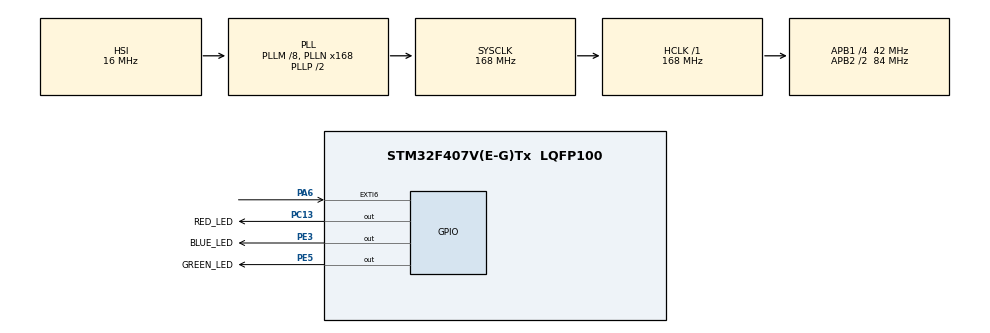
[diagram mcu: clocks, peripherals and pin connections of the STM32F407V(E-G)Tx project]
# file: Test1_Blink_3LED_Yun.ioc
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Mcu.Family=STM32F4
PC15-OSC32_OUT.Mode=LSE-External-Oscillator
PH0-OSC_IN.Signal=RCC_OSC_IN
PA6.GPIO_ModeDefaultEXTI=GPIO_MODE_IT_FALLING
RCC.CortexFreq_Value=168000000
PC13-ANTI_TAMP.GPIO_Label=RED_LED
RCC.APB1CLKDivider=RCC_HCLK_DIV4
PC14-OSC32_IN.Signal=RCC_OSC32_IN
PC13-ANTI_TAMP.PinState=GPIO_PIN_SET
RCC.SYSCLKSource=RCC_SYSCLKSOURCE_PLLCLK
ProjectManager.StackSize=0x400
PA13.Signal=SYS_JTMS-SWDIO
ProjectManager.TargetToolchain=STM32CubeIDE
RCC.HCLKFreq_Value=168000000
RCC.APB2TimFreq_Value=168000000
PE5.Signal=GPIO_Output
PC15-OSC32_OUT.Signal=RCC_OSC32_OUT
RCC.AHBFreq_Value=168000000
PH0-OSC_IN.Mode=HSE-External-Oscillator
PE3.PinState=GPIO_PIN_SET
RCC.HSE_VALUE=8000000
board=custom
PC13-ANTI_TAMP.Signal=GPIO_Output
RCC.VCOOutputFreq_Value=336000000
RCC.APB2Freq_Value=84000000
PA6.GPIO_PuPd=GPIO_PULLUP
PC14-OSC32_IN.Mode=LSE-External-Oscillator
PA14.Mode=Serial_Wire
PE5.PinState=GPIO_PIN_SET
PH1-OSC_OUT.Signal=RCC_OSC_OUT
PA13.Mode=Serial_Wire
Mcu.Name=STM32F407V(E-G)Tx
PH1-OSC_OUT.Mode=HSE-External-Oscillator
RCC.48MHZClocksFreq_Value=84000000
RCC.SYSCLKFreq_VALUE=168000000
Mcu.Package=LQFP100
PA6.Signal=GPXTI6
PE5.GPIO_Label=GREEN_LED
NVIC.EXTI9_5_IRQn=true\:0\:0\:false\:false\:true\:true\:true
PA14.Signal=SYS_JTCK-SWCLK
ProjectManager.HeapSize=0x200
RCC.HSI_VALUE=16000000
NVIC.PriorityGroup=NVIC_PRIORITYGROUP_4
RCC.APB2CLKDivider=RCC_HCLK_DIV2
RCC.PLLM=8
RCC.PLLN=168
RCC.APB1TimFreq_Value=84000000
PE3.Signal=GPIO_Output
PE3.GPIO_Label=BLUE_LED
RCC.APB1Freq_Value=42000000

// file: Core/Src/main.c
/* USER CODE BEGIN Header */
/**
  ******************************************************************************
  * @file           : main.c
  * @brief          : Main program body
  ******************************************************************************
  * @attention
  *
  * <h2><center>&copy; Copyright (c) 2021 STMicroelectronics.
  * All rights reserved.</center></h2>
  *
  * This software component is licensed by ST under BSD 3-Clause license,
  * the "License"; You may not use this file except in compliance with the
  * License. You may obtain a copy of the License at:
  *                        opensource.org/licenses/BSD-3-Clause
  *
  ******************************************************************************
  */
/* USER CODE END Header */
#include "main.h"
#include "gpio.h"

void SystemClock_Config(void);

/* USER CODE BEGIN 0 */
void SetColor(int index, uint32_t time)
{
	switch(index)
	{
	case 0:
		RED_ON();
		HAL_Delay(time);
		RED_OFF();
		break;
	case 1:
		GREEN_ON();
		HAL_Delay(time);
		GREEN_OFF();
		break;
	case 2:
		BLUE_ON();
		HAL_Delay(time);
		BLUE_OFF();
		break;
	}
}
/* USER CODE END 0 */

int main(void)
{

  /* MCU Configuration--------------------------------------------------------*/

  /* Reset of all peripherals, Initializes the Flash interface and the Systick. */
  HAL_Init();

  /* Configure the system clock */
  SystemClock_Config();

  /* Initialize all configured peripherals */
  MX_GPIO_Init();

  /* Infinite loop */
  while (1)
  {

    /* USER CODE BEGIN 3 */
	  for(int i = 0; i <= 2; i++)
	  {
		  SetColor(i, 50);
	  }
  }
  /* USER CODE END 3 */
}

void SystemClock_Config(void)
{
  RCC_OscInitTypeDef RCC_OscInitStruct = {0};
  RCC_ClkInitTypeDef RCC_ClkInitStruct = {0};

  /** Configure the main internal regulator output voltage
  */
  __HAL_RCC_PWR_CLK_ENABLE();
  __HAL_PWR_VOLTAGESCALING_CONFIG(PWR_REGULATOR_VOLTAGE_SCALE1);
  /** Initializes the RCC Oscillators according to the specified parameters
  * in the RCC_OscInitTypeDef structure.
  */
  RCC_OscInitStruct.OscillatorType = RCC_OSCILLATORTYPE_HSI;
  RCC_OscInitStruct.HSIState = RCC_HSI_ON;
  RCC_OscInitStruct.HSICalibrationValue = RCC_HSICALIBRATION_DEFAULT;
  RCC_OscInitStruct.PLL.PLLState = RCC_PLL_ON;
  RCC_OscInitStruct.PLL.PLLSource = RCC_PLLSOURCE_HSI;
  RCC_OscInitStruct.PLL.PLLM = 8;
  RCC_OscInitStruct.PLL.PLLN = 168;
  RCC_OscInitStruct.PLL.PLLP = RCC_PLLP_DIV2;
  RCC_OscInitStruct.PLL.PLLQ = 4;
  if (HAL_RCC_OscConfig(&RCC_OscInitStruct) != HAL_OK)
  {
    Error_Handler();
  }
  /** Initializes the CPU, AHB and APB buses clocks
  */
  RCC_ClkInitStruct.ClockType = RCC_CLOCKTYPE_HCLK|RCC_CLOCKTYPE_SYSCLK
                              |RCC_CLOCKTYPE_PCLK1|RCC_CLOCKTYPE_PCLK2;
  RCC_ClkInitStruct.SYSCLKSource = RCC_SYSCLKSOURCE_PLLCLK;
  RCC_ClkInitStruct.AHBCLKDivider = RCC_SYSCLK_DIV1;
  RCC_ClkInitStruct.APB1CLKDivider = RCC_HCLK_DIV4;
  RCC_ClkInitStruct.APB2CLKDivider = RCC_HCLK_DIV2;

  if (HAL_RCC_ClockConfig(&RCC_ClkInitStruct, FLASH_LATENCY_5) != HAL_OK)
  {
    Error_Handler();
  }
}

void Error_Handler(void)
{
  __disable_irq();
  while (1)
  {
  }
}

/************************ (C) COPYRIGHT STMicroelectronics *****END OF FILE****/
